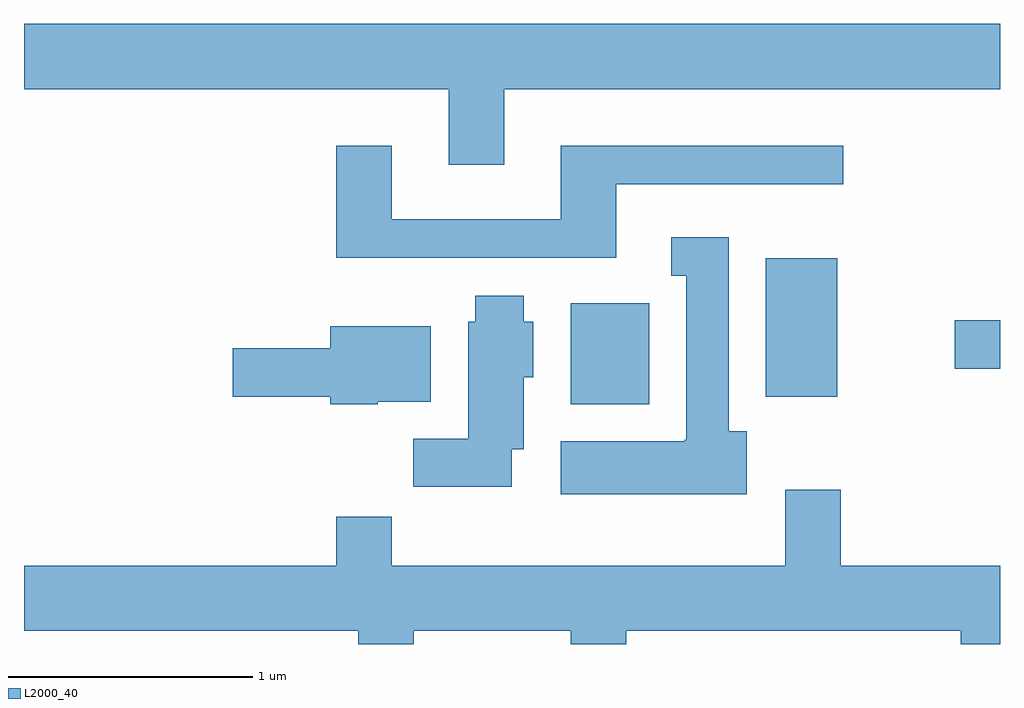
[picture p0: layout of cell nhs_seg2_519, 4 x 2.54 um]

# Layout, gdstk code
import gdstk
lib = gdstk.Library(unit=1e-6, precision=1e-09)
def R(c, l, rs):  # rectangles x0, y0, x1, y1
    for r in rs: c.add(gdstk.rectangle(r[:2], r[2:], *l))
def P(c, l, *ps):  # polygons
    for p in ps: c.add(gdstk.Polygon(p, *l))
L2000_40 = (2000, 40)

nhs_seg2_519 = lib.new_cell('nhs_seg2_519')
R(nhs_seg2_519, L2000_40, [(201.851,1064.786,202.174,1065.199), (202.651,1064.816,202.944,1065.384), (203.426,1064.931,203.611,1065.129)])
P(nhs_seg2_519, L2000_40, [(201.579,1066.076),(203.611,1066.076),(203.611,1066.344),(199.611,1066.344),(199.611,1066.076),(201.351,1066.076),(201.351,1065.766),(201.579,1065.766)],
  [(202.039,1065.686),(202.968,1065.686),(202.968,1065.844),(201.811,1065.844),(201.811,1065.544),(201.119,1065.544),(201.119,1065.844),(200.891,1065.844),(200.891,1065.386),(202.039,1065.386)],
  [(202.574,1064.674),(202.499,1064.674),(202.499,1065.469),(202.263,1065.469),(202.263,1065.311),(202.326,1065.311),(202.326,1064.64),(202.32,1064.64),(202.32,1064.634),(201.811,1064.634),(201.811,1064.416),(202.574,1064.416)],
  [(201.609,1064.601),(201.659,1064.601),(201.659,1064.896),(201.699,1064.896),(201.699,1065.124),(201.659,1065.124),(201.659,1065.229),(201.461,1065.229),(201.461,1065.124),(201.431,1065.124),(201.431,1064.644),(201.206,1064.644),(201.206,1064.446),(201.609,1064.446)],
  [(201.06,1064.796),(201.279,1064.796),(201.279,1065.104),(200.866,1065.104),(200.866,1065.014),(200.466,1065.014),(200.466,1064.816),(200.866,1064.816),(200.866,1064.786),(201.06,1064.786)],
  [(201.209,1063.856),(201.851,1063.856),(201.851,1063.802),(202.079,1063.802),(202.079,1063.856),(203.451,1063.856),(203.451,1063.802),(203.611,1063.802),(203.611,1064.124),(202.959,1064.124),(202.959,1064.434),(202.731,1064.434),(202.731,1064.124),(201.119,1064.124),(201.119,1064.324),(200.891,1064.324),(200.891,1064.124),(199.611,1064.124),(199.611,1063.856),(200.981,1063.856),(200.981,1063.802),(201.209,1063.802)])

lib.write_gds('nhs_seg2_519.gds')
